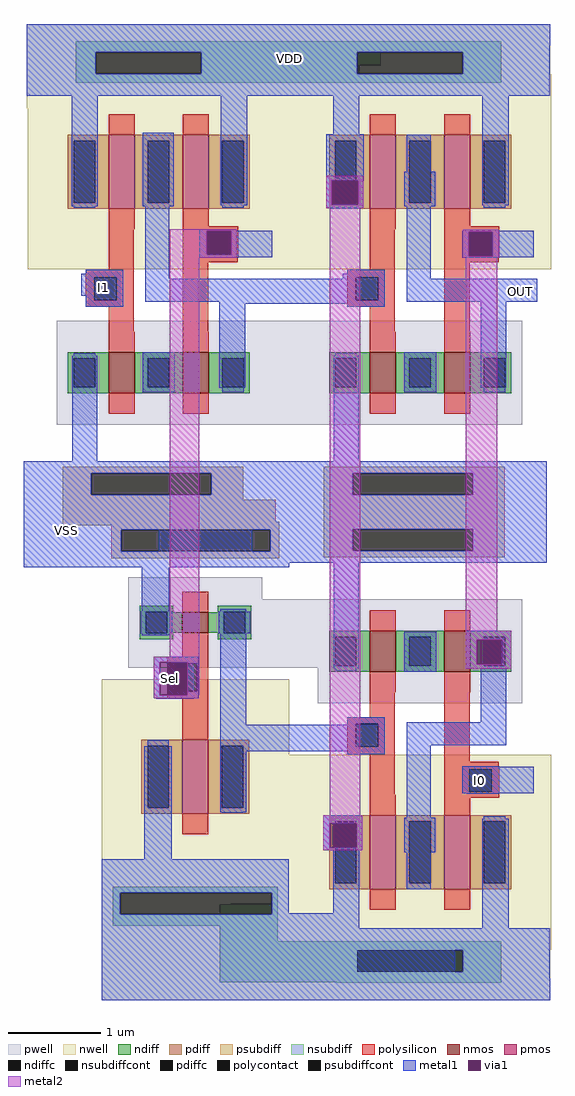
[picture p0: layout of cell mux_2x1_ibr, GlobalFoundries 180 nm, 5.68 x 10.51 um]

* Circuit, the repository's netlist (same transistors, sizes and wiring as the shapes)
* NGSPICE file created from mux_2x1_ibr.ext - technology: gf180mcuC

.subckt pmos_3p3_M8SWPS a_n28_n124# a_n116_n80# a_28_n80# w_n202_n210#
X0 a_28_n80# a_n28_n124# a_n116_n80# w_n202_n210# pfet_03v3 ad=0.352p pd=2.48u as=0.352p ps=2.48u w=0.8u l=0.28u
.ends

.subckt nmos_3p3_5QNVWA a_n116_n44# a_28_n44# a_n28_n88# VSUBS
X0 a_28_n44# a_n28_n88# a_n116_n44# VSUBS nfet_03v3 ad=0.194p pd=1.76u as=0.194p ps=1.76u w=0.44u l=0.28u
.ends

.subckt nand2_ibr VDD IN2 IN1 OUT VSS
Xpmos_3p3_M8SWPS_0 IN1 OUT VDD VDD pmos_3p3_M8SWPS
Xpmos_3p3_M8SWPS_1 IN2 VDD OUT VDD pmos_3p3_M8SWPS
Xnmos_3p3_5QNVWA_0 VSS m1_186_70# IN2 VSS nmos_3p3_5QNVWA
Xnmos_3p3_5QNVWA_1 m1_186_70# OUT IN1 VSS nmos_3p3_5QNVWA
.ends

.subckt pmos_3p3_MQGBLR a_n28_n124# a_n116_n80# a_28_n80# w_n202_n210#
X0 a_28_n80# a_n28_n124# a_n116_n80# w_n202_n210# pfet_03v3 ad=0.352p pd=2.48u as=0.352p ps=2.48u w=0.8u l=0.28u
.ends

.subckt nmos_3p3_DDNVWA a_n120_n36# a_28_n22# a_n28_n66# VSUBS
X0 a_28_n22# a_n28_n66# a_n120_n36# VSUBS nfet_03v3 ad=0.152p pd=1.64u as=0.152p ps=1.64u w=0.22u l=0.28u
.ends

.subckt nverterlayout_ibr VDD VSS OUT IN
Xpmos_3p3_MQGBLR_0 IN VDD OUT VDD pmos_3p3_MQGBLR
Xnmos_3p3_DDNVWA_0 VSS OUT IN VSS nmos_3p3_DDNVWA
.ends

.subckt mux_2x1_ibr VDD VSS Sel I0 I1 OUT
Xnand2_ibr_0 VDD I1 Sel nand2_ibr_1/IN2 VSS nand2_ibr
Xnand2_ibr_1 VDD nand2_ibr_1/IN2 nand2_ibr_2/OUT OUT VSS nand2_ibr
Xnand2_ibr_2 VDD nand2_ibr_2/IN2 I0 nand2_ibr_2/OUT VSS nand2_ibr
Xnverterlayout_ibr_0 VDD VSS nand2_ibr_2/IN2 Sel nverterlayout_ibr
.ends

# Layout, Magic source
magic
tech gf180mcuC
magscale 1 10
<< nwell >>
rect 361 -394 362 -391
rect 361 -401 375 -394
rect 645 -729 650 -653
rect 569 -886 618 -864
rect 547 -887 690 -886
rect 167 -924 690 -887
rect 167 -1051 619 -924
<< pwell >>
rect 509 188 640 412
rect 324 -278 377 -196
rect 509 -335 638 -188
<< psubdiff >>
rect 83 -28 542 26
rect 646 -25 1035 30
<< nsubdiff >>
rect 427 992 768 1014
rect 382 962 768 992
rect 382 924 722 962
rect 445 -845 547 -844
rect 422 -924 547 -845
rect 422 -930 718 -924
rect 422 -1013 1028 -930
<< metal1 >>
rect 502 897 667 1046
rect 256 729 323 817
rect 651 715 732 814
rect 651 662 663 715
rect 720 713 732 715
rect 720 662 731 713
rect 651 654 731 662
rect 377 606 458 609
rect 377 554 394 606
rect 446 603 458 606
rect 945 604 1023 608
rect 446 554 459 603
rect 377 550 459 554
rect 945 551 958 604
rect 1010 551 1023 604
rect 377 548 458 550
rect 945 548 1023 551
rect 136 450 207 515
rect 696 502 767 515
rect 421 448 772 502
rect 904 453 1105 502
rect 1003 448 1033 453
rect 83 24 542 26
rect 0 -28 542 24
rect 646 -25 1035 30
rect 0 -119 169 -28
rect 290 -104 492 -28
rect 951 -275 1049 -256
rect 279 -320 361 -312
rect 279 -324 362 -320
rect 279 -395 292 -324
rect 352 -331 362 -324
rect 951 -328 975 -275
rect 1029 -328 1049 -275
rect 352 -394 366 -331
rect 951 -338 1049 -328
rect 352 -395 375 -394
rect 279 -401 375 -395
rect 285 -402 366 -401
rect 430 -515 770 -458
rect 954 -554 1022 -548
rect 953 -604 1022 -554
rect 954 -607 1022 -604
rect 645 -670 729 -653
rect 645 -723 658 -670
rect 717 -723 729 -670
rect 645 -729 729 -723
rect 569 -887 689 -864
rect 167 -896 689 -887
rect 167 -899 881 -896
rect 167 -993 928 -899
rect 167 -1051 881 -993
<< via1 >>
rect 663 662 720 715
rect 394 554 446 606
rect 958 551 1010 604
rect 292 -395 352 -324
rect 975 -328 1029 -275
rect 658 -723 717 -670
<< metal2 >>
rect 651 715 731 724
rect 651 662 663 715
rect 720 662 731 715
rect 651 654 731 662
rect 314 606 458 609
rect 314 554 394 606
rect 446 554 458 606
rect 314 548 458 554
rect 314 -312 377 548
rect 279 -324 377 -312
rect 279 -395 292 -324
rect 352 -394 377 -324
rect 352 -395 375 -394
rect 279 -401 375 -395
rect 658 -653 724 654
rect 945 604 1023 608
rect 945 551 958 604
rect 1010 551 1023 604
rect 945 548 1023 551
rect 951 -256 1019 548
rect 951 -275 1049 -256
rect 951 -328 975 -275
rect 1029 -328 1049 -275
rect 951 -338 1049 -328
rect 645 -670 729 -653
rect 645 -723 658 -670
rect 717 -723 729 -670
rect 645 -729 729 -723
use nand2_ibr  nand2_ibr_0
transform 1 0 70 0 1 188
box -70 -188 502 863
use nand2_ibr  nand2_ibr_1
transform 1 0 633 0 1 188
box -70 -188 502 863
use nand2_ibr  nand2_ibr_2
transform 1 0 633 0 -1 -188
box -70 -188 502 863
use nverterlayout_ibr  nverterlayout_ibr_0
transform 1 0 255 0 -1 220
box -88 220 316 1149
<< labels >>
flabel metal1 572 976 572 976 0 FreeSans 480 0 0 0 VDD
port 0 nsew
flabel metal1 92 -40 92 -40 0 FreeSans 480 0 0 0 VSS
port 1 nsew
flabel via1 314 -358 314 -358 0 FreeSans 480 0 0 0 Sel
port 2 nsew
flabel metal1 982 -578 982 -578 0 FreeSans 480 0 0 0 I0
port 3 nsew
flabel metal1 136 450 207 515 0 FreeSans 480 0 0 0 I1
port 4 nsew
flabel metal1 1070 475 1070 475 0 FreeSans 480 0 0 0 OUT
port 5 nsew
<< end >>

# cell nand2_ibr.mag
magic
tech gf180mcuC
magscale 1 10
<< nwell >>
rect -64 708 500 863
rect -64 682 32 708
rect 33 682 500 708
rect 191 384 243 624
<< psubdiff >>
rect 13 -105 402 -91
rect 13 -151 75 -105
rect 333 -151 402 -105
rect 13 -167 402 -151
<< nsubdiff >>
rect 41 802 395 826
rect 41 756 85 802
rect 312 756 395 802
rect 41 736 395 756
<< psubdiffcont >>
rect 75 -151 333 -105
<< nsubdiffcont >>
rect 85 756 312 802
<< polysilicon >>
rect 311 421 391 427
rect 112 334 166 421
rect 63 318 166 334
rect 63 268 81 318
rect 130 268 166 318
rect 63 254 166 268
rect 112 200 166 254
rect 272 414 391 421
rect 272 366 326 414
rect 374 366 391 414
rect 272 360 391 366
rect 272 350 390 360
rect 272 200 327 350
<< polycontact >>
rect 81 268 130 318
rect 326 366 374 414
<< metal1 >>
rect -64 817 500 863
rect -64 802 499 817
rect -64 756 85 802
rect 312 756 499 802
rect -64 708 499 756
rect 33 471 89 708
rect 191 545 243 624
rect 186 470 253 545
rect 354 473 411 708
rect 63 325 144 334
rect 53 318 144 325
rect 53 278 81 318
rect 63 268 81 278
rect 130 268 144 318
rect 63 254 144 268
rect 191 314 243 470
rect 311 414 465 418
rect 311 366 326 414
rect 374 366 465 414
rect 311 361 465 366
rect 311 360 391 361
rect 191 265 406 314
rect 34 -79 88 149
rect 186 70 255 156
rect 351 80 406 265
rect -70 -105 493 -79
rect -70 -151 75 -105
rect 333 -151 493 -105
rect -70 -188 493 -151
use nmos_3p3_5QNVWA  nmos_3p3_5QNVWA_0
transform 1 0 140 0 1 112
box -140 -112 140 112
use nmos_3p3_5QNVWA  nmos_3p3_5QNVWA_1
transform 1 0 300 0 1 112
box -140 -112 140 112
use pmos_3p3_M8SWPS  pmos_3p3_M8SWPS_0
transform 1 0 300 0 1 545
box -202 -210 202 210
use pmos_3p3_M8SWPS  pmos_3p3_M8SWPS_1
transform 1 0 140 0 1 545
box -202 -210 202 210
<< labels >>
flabel polycontact 101 293 101 293 0 FreeSans 480 0 0 0 IN2
port 1 nsew
flabel metal1 425 394 425 394 0 FreeSans 480 0 0 0 IN1
port 2 nsew
flabel metal1 374 282 374 282 0 FreeSans 480 0 0 0 OUT
port 3 nsew
flabel psubdiffcont 204 -128 204 -128 0 FreeSans 480 0 0 0 VSS
port 4 nsew
flabel nsubdiffcont 200 777 200 777 0 FreeSans 480 0 0 0 VDD
port 0 nsew
<< end >>

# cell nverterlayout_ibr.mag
magic
tech gf180mcuC
magscale 1 10
<< nwell >>
rect -88 1000 316 1149
rect -88 968 315 1000
rect 4 724 63 960
rect 64 612 121 621
<< pwell >>
rect 64 534 121 540
rect 54 532 121 534
<< psubdiff >>
rect -67 305 295 320
rect -67 258 -46 305
rect 275 258 295 305
rect -67 241 295 258
<< nsubdiff >>
rect -64 1086 292 1111
rect -64 1040 -48 1086
rect 279 1040 292 1086
rect -64 1027 292 1040
<< psubdiffcont >>
rect -46 258 275 305
<< nsubdiffcont >>
rect -48 1040 279 1086
<< polysilicon >>
rect 86 621 142 672
rect 54 606 142 621
rect 54 546 70 606
rect 118 546 142 606
rect 54 532 142 546
rect 86 524 142 532
<< polycontact >>
rect 70 546 118 606
<< metal1 >>
rect -88 1086 315 1130
rect -88 1040 -48 1086
rect 279 1040 315 1086
rect -88 968 315 1040
rect 4 724 63 968
rect 54 606 121 621
rect 54 596 70 606
rect 53 546 70 596
rect 118 546 121 606
rect 53 532 121 546
rect -1 339 58 485
rect 168 429 224 867
rect -88 305 316 339
rect -88 258 -46 305
rect 275 258 316 305
rect -88 220 316 258
use nmos_3p3_DDNVWA  nmos_3p3_DDNVWA_0
transform 1 0 114 0 1 458
box -144 -97 144 97
use pmos_3p3_MQGBLR  pmos_3p3_MQGBLR_0
transform 1 0 114 0 1 790
box -202 -210 202 210
<< labels >>
flabel nsubdiffcont 116 1065 116 1065 0 FreeSans 480 0 0 0 VDD
port 0 nsew
flabel psubdiffcont 113 283 113 283 0 FreeSans 480 0 0 0 VSS
port 1 nsew
flabel metal1 194 631 194 631 0 FreeSans 480 0 0 0 OUT
port 2 nsew
flabel polycontact 92 575 92 575 0 FreeSans 480 0 0 0 IN
port 3 nsew
<< end >>

# cell nmos_3p3_DDNVWA: kit device nmos_3p3, w 0.220 l 0.280 m 1 nf 1 diffcov 100 polycov 100 guard 0 glc 0 grc 0 gtc 0 gbc 0 tbcov 100 rlcov 100 topc 0 botc 0 poverlap 0 doverlap 1 lmin 0.28 wmin 0.22 full_metal 0 compatible {nmos_3p3 nmos_6p0 nmos_6p0_nat}

# cell pmos_3p3_MQGBLR: kit device pmos_3p3, w 0.8 l 0.280 m 1 nf 1 diffcov 100 polycov 100 guard 0 glc 0 grc 0 gtc 0 gbc 0 tbcov 100 rlcov 100 topc 0 botc 0 poverlap 0 doverlap 1 lmin 0.28 wmin 0.22 full_metal 0 compatible {pmos_3p3 pmos_6p0}

# cell nmos_3p3_5QNVWA: kit device nmos_3p3, w 0.440 l 0.280 m 1 nf 1 diffcov 100 polycov 100 guard 0 glc 0 grc 0 gtc 0 gbc 0 tbcov 100 rlcov 100 topc 0 botc 0 poverlap 0 doverlap 1 lmin 0.28 wmin 0.22 full_metal 0 compatible {nmos_3p3 nmos_6p0 nmos_6p0_nat}

# cell pmos_3p3_M8SWPS: kit device pmos_3p3, w 0.80 l 0.280 m 1 nf 1 diffcov 100 polycov 100 guard 0 glc 0 grc 0 gtc 0 gbc 0 tbcov 100 rlcov 100 topc 0 botc 0 poverlap 0 doverlap 1 lmin 0.28 wmin 0.22 full_metal 0 compatible {pmos_3p3 pmos_6p0}
